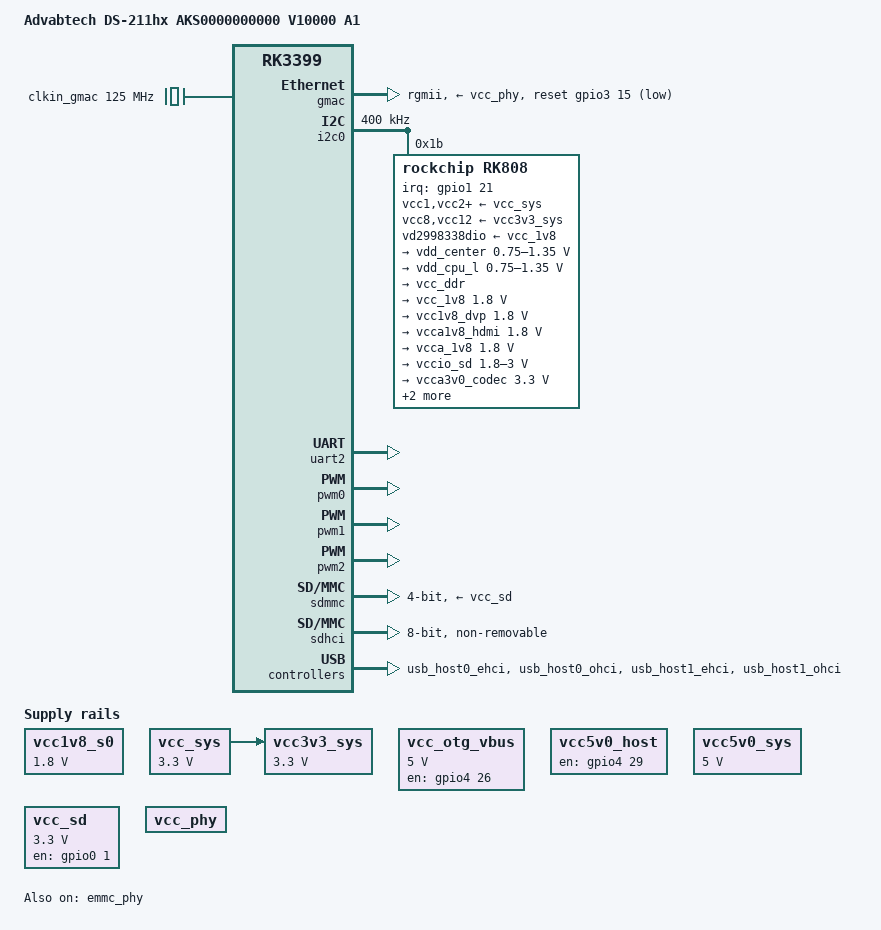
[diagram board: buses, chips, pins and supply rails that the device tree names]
/*
 * (C) Copyright 2016 Rockchip Electronics Co., Ltd
 *
 * SPDX-License-Identifier:     GPL-2.0+
 */

/dts-v1/;
#include <dt-bindings/pwm/pwm.h>
#include <dt-bindings/pinctrl/rockchip.h>
#include "rk3399.dtsi"
#include "rk3399-sdram-lpddr3-4GB-1600.dtsi"
#include "rk3399-u-boot.dtsi"
#include <linux/media-bus-format.h>
#include <dt-bindings/input/input.h>

/ {
	model = "Advabtech DS-211hx AKS0000000000 V10000 A1";
	compatible = "rockchip,rk3399-ds211hx", "rockchip,rk3399";
	
	chosen {
                stdout-path = &uart2;
                u-boot,spl-boot-order = &sdhci, &sdmmc;
        };
	vcc1v8_s0: vcc1v8-s0 {
                compatible = "regulator-fixed";
                regulator-name = "vcc1v8_s0";
                regulator-min-microvolt = <1800000>;
                regulator-max-microvolt = <1800000>;
                regulator-always-on;
        };
	vcc_sys: vcc-sys {
		compatible = "regulator-fixed";
                regulator-name = "vcc_sys";
                regulator-min-microvolt = <3300000>;
                regulator-max-microvolt = <3300000>;
                regulator-always-on;
	};
	vcc3v3_sys: vcc3v3-sys {
                compatible = "regulator-fixed";
                regulator-name = "vcc3v3_sys";
                regulator-min-microvolt = <3300000>;
                regulator-max-microvolt = <3300000>;
                regulator-always-on;
                vin-supply = <&vcc_sys>;
        };

	vcc_otg_vbus: otg-vbus-regulator {
		compatible = "regulator-fixed";
		gpio = <&gpio4 26 GPIO_ACTIVE_HIGH>;
		pinctrl-names = "default";
		pinctrl-0 = <&otg_vbus_drv>;
		regulator-name = "vcc_otg_vbus";
		regulator-min-microvolt = <5000000>;
		regulator-max-microvolt = <5000000>;
		enable-active-high;
	};

	vcc5v0_host: vcc5v0-host-regulator {
		compatible = "regulator-fixed";
		enable-active-high;
		gpio = <&gpio4 29 GPIO_ACTIVE_HIGH>;
		pinctrl-names = "default";
		pinctrl-0 = <&host_vbus_drv>;
		regulator-name = "vcc5v0_host";
		regulator-always-on;
	};

	vcc5v0_sys: vcc5v0-sys {
		compatible = "regulator-fixed";
		regulator-name = "vcc5v0_sys";
		regulator-always-on;
		regulator-boot-on;
		regulator-min-microvolt = <5000000>;
		regulator-max-microvolt = <5000000>;
	};

	vcc_sd: vcc-sd {
		compatible = "regulator-fixed";
		enable-active-high;
		gpio = <&gpio0 1 GPIO_ACTIVE_HIGH>;
		pinctrl-names = "default";
		pinctrl-0 = <&vcc_sd_h>;
		regulator-name = "vcc_sd";
		regulator-min-microvolt = <3300000>;
		regulator-max-microvolt = <3300000>;
		regulator-boot-on;
	};

	vcc_phy: vcc-phy-regulator {
		compatible = "regulator-fixed";
		regulator-name = "vcc_phy";
		regulator-always-on;
		regulator-boot-on;
	};
        
	clkin_gmac: external-gmac-clock {
                compatible = "fixed-clock";
                clock-frequency = <125000000>;
                clock-output-names = "clkin_gmac";
                #clock-cells = <0>;
        };


};

&edp_in_vopb {
	status = "disabled";
};
&vopb {
	status = "disabled";
};
&edp_in_vopl {
	status = "disabled";
};
&edp {
	status = "disabled";
	force-hpd;
};
&route_edp{
	status = "disabled";
};

&gmac {
	phy-supply = <&vcc_phy>;
	phy-mode = "rgmii";
	clock_in_out = "input";
	snps,reset-gpio = <&gpio3 15 GPIO_ACTIVE_LOW>;
	snps,reset-active-low;
	snps,reset-delays-us = <0 10000 50000>;
	assigned-clocks = <&cru SCLK_RMII_SRC>;
	assigned-clock-parents = <&clkin_gmac>;
	pinctrl-names = "default", "sleep";
	//pinctrl-0 = <&rgmii_16ma_pins &rgmii_phy_reset>;
	pinctrl-0 = <&rgmii_pins>;	
	//pinctrl-1 = <&rgmii_sleep_pins>;
	enable_phy_delay = <0>;
	tx_delay = <0x29>;
	rx_delay = <0x08>;
	status = "okay";
};

&i2c0 {
	status = "okay";
	i2c-scl-rising-time-ns = <178>;
	i2c-scl-falling-time-ns = <29>;
	clock-frequency = <400000>;

	rk808: pmic@1b {
		compatible = "rockchip,rk808";
		reg = <0x1b>;
		interrupt-parent = <&gpio1>;
		interrupts = <21 IRQ_TYPE_LEVEL_LOW>;
		pinctrl-names = "default";
		pinctrl-0 = <&pmic_int_l>;
		rockchip,system-power-controller;
		wakeup-source;
		#clock-cells = <1>;
		clock-output-names = "xin32k", "rk808-clkout2";
		//bulk-ilmax = <0xc0 0x80>;
		
		vcc1-supply = <&vcc_sys>;
                vcc2-supply = <&vcc_sys>;
                vcc3-supply = <&vcc_sys>;
                vcc4-supply = <&vcc_sys>;
                vcc6-supply = <&vcc_sys>;
                vcc7-supply = <&vcc_sys>;
                vcc8-supply = <&vcc3v3_sys>;
                vcc9-supply = <&vcc_sys>;
                vcc10-supply = <&vcc_sys>;
                vcc11-supply = <&vcc_sys>;
                vcc12-supply = <&vcc3v3_sys>;
                vd2998338dio-supply = <&vcc_1v8>;

		regulators {
			vdd_center: DCDC_REG1 {
				regulator-always-on;
				regulator-boot-on;
				regulator-min-microvolt = <750000>;
				regulator-max-microvolt = <1350000>;
				regulator-ramp-delay = <6001>;
				regulator-name = "vdd_center";
				regulator-state-mem {
					regulator-off-in-suspend;
				};
			};

			vdd_cpu_l: DCDC_REG2 {
				regulator-always-on;
				regulator-boot-on;
				regulator-min-microvolt = <750000>;
				regulator-max-microvolt = <1350000>;
				regulator-ramp-delay = <6001>;
				regulator-name = "vdd_cpu_l";
				regulator-state-mem {
					regulator-off-in-suspend;
				};
			};

			vcc_ddr: DCDC_REG3 {
				regulator-always-on;
				regulator-boot-on;
				regulator-name = "vcc_ddr";
				regulator-state-mem {
					regulator-on-in-suspend;
				};
			};

			vcc_1v8: DCDC_REG4 {
				regulator-always-on;
				regulator-boot-on;
				regulator-min-microvolt = <1800000>;
				regulator-max-microvolt = <1800000>;
				regulator-name = "vcc_1v8";
				regulator-state-mem {
					regulator-on-in-suspend;
					regulator-suspend-microvolt = <1800000>;
				};
			};

			vcc1v8_dvp: LDO_REG1 {
				regulator-always-on;
				regulator-boot-on;
				regulator-min-microvolt = <1800000>;
				regulator-max-microvolt = <1800000>;
				regulator-name = "vcc1v8_dvp";
				regulator-state-mem {
					regulator-on-in-suspend;
					regulator-suspend-microvolt = <1800000>;
				};
			};
		
			vcca1v8_hdmi: LDO_REG2 {
				regulator-always-on;
				regulator-boot-on;
				regulator-min-microvolt = <1800000>;
				regulator-max-microvolt = <1800000>;
				regulator-name = "vcca1v8_hdmi";
				regulator-state-mem {
					regulator-on-in-suspend;
					regulator-suspend-microvolt = <1800000>;
				};
			};

			vcca_1v8: LDO_REG3 {
				regulator-always-on;
				regulator-boot-on;
				regulator-min-microvolt = <1800000>;
				regulator-max-microvolt = <1800000>;
				regulator-name = "vcca_1v8";
				regulator-state-mem {
					regulator-on-in-suspend;
					regulator-suspend-microvolt = <1800000>;
				};
			};

			vccio_sd: LDO_REG4 {
				regulator-always-on;
				regulator-boot-on;
				regulator-min-microvolt = <1800000>;
				regulator-max-microvolt = <3000000>;
				regulator-name = "vccio_sd";
				regulator-state-mem {
					regulator-on-in-suspend;
					regulator-suspend-microvolt = <3000000>;
				};
			};

			vcca3v0_codec: LDO_REG5 {
				regulator-always-on;
				regulator-boot-on;
				regulator-min-microvolt = <3300000>;
				regulator-max-microvolt = <3300000>;
				regulator-name = "vcca3v0_codec";
				regulator-state-mem {
					regulator-on-in-suspend;
					regulator-suspend-microvolt = <3300000>;
				};
			};

			vcc_1v5: LDO_REG6 {
				regulator-always-on;
				regulator-boot-on;
				regulator-min-microvolt = <1500000>;
				regulator-max-microvolt = <1500000>;
				regulator-name = "vcc_1v5";
				regulator-state-mem {
					regulator-on-in-suspend;
					regulator-suspend-microvolt = <1500000>;
				};
			};
			
			vcca0v9_hdmi: LDO_REG7 {
				regulator-always-on;
				regulator-boot-on;
				regulator-min-microvolt = <900000>;
				regulator-max-microvolt = <900000>;
				regulator-name = "vcca0v9_hdmi";
				regulator-state-mem {
					regulator-on-in-suspend;
					regulator-suspend-microvolt = <900000>;
				};
			};

			vcc_3v0: LDO_REG8 {
				regulator-always-on;
				regulator-boot-on;
				regulator-min-microvolt = <3000000>;
				regulator-max-microvolt = <3000000>;
				regulator-name = "vcc_3v0";
				regulator-state-mem {
					regulator-on-in-suspend;
					regulator-suspend-microvolt = <3000000>;
				};
			};

			vcc3v3_s3: SWITCH_REG1 {
				regulator-always-on;
				regulator-boot-on;
				regulator-name = "vcc3v3_s3";
				regulator-state-mem {
					regulator-off-in-suspend;
				};
			};

			vcc3v3_s0: SWITCH_REG2 {
				regulator-always-on;
				regulator-boot-on;
				regulator-name = "vcc3v3_s0";
				regulator-state-mem {
					regulator-off-in-suspend;
				};
			};
		};
	};
};

&uart2 {
	status = "okay";
};

&emmc_phy {
	status = "okay";
};

&pwm0 {
	status = "okay";
};

&pwm1 {
	status = "okay";
};

&pwm2 {
	status = "okay";
};
&saradc {
	status = "disabled";
};
&sdmmc {
	clock-frequency = <10000000>;
	clock-freq-min-max = <100000 100000000>;
	supports-sd;
	bus-width = <4>;
	cap-mmc-highspeed;
	cap-sd-highspeed;
	disable-wp;
	num-slots = <1>;
	//sd-uhs-sdr104;
	vmmc-supply = <&vcc_sd>;
	//vqmmc-supply = <&vccio_sd>;
	pinctrl-names = "default";
	pinctrl-0 = <&sdmmc_clk &sdmmc_cmd &sdmmc_cd &sdmmc_bus4>;
	status = "okay";
};

&sdhci {
	bus-width = <8>;
	mmc-hs400-1_8v;
	supports-emmc;
	non-removable;
	keep-power-in-suspend;
	mmc-hs400-enhanced-strobe;
	status = "okay";
};
&usb_host0_ehci {
	status = "okay";
};

&usb_host0_ohci {
	status = "okay";
};

&usb_host1_ehci {
	status = "okay";
};

&usb_host1_ohci {
	status = "okay";
};
&dwc3_typec0 {
	//vbus-supply = <&vcc5v0_typec0>;
	status = "disabled";
};

&dwc3_typec1 {
	//vbus-supply = <&vcc5v0_typec1>;
	status = "disabled";
};

&pinctrl {
	pcfg_pull_none_16ma: pcfg-pull-none-16ma {
		bias-disable;
		drive-strength = <16>;
	};

	pcfg_pull_none_26ma: pcfg-pull-none-26ma {
		bias-disable;
		drive-strength = <26>;
	};

	pmic {
		pmic_int_l: pmic-int-l {
			rockchip,pins =
				<1 21 RK_FUNC_GPIO &pcfg_pull_up>;
		};
		pmic_pwr_key: pmic-pwr-key {
			rockchip,pins =
				<0 5 RK_FUNC_GPIO &pcfg_pull_up>;
		};
		vsel1_gpio: vsel1-gpio {
			rockchip,pins =
				<1 17 RK_FUNC_GPIO &pcfg_pull_down>;
		};
		vsel2_gpio: vsel2-gpio {
			rockchip,pins =
				<1 14 RK_FUNC_GPIO &pcfg_pull_down>;
		};
		clk32k_in: clk32k-in {
			rockchip,pins =
				<0 0 RK_FUNC_2 &pcfg_pull_down>;
		};
	};

	usb {
		otg_vbus_drv: otg-vbus-drv {
			rockchip,pins = 
				<4 26 RK_FUNC_GPIO &pcfg_pull_none>;
		};
		host_vbus_drv: host-vbus-drv {
			rockchip,pins =
				<4 29 RK_FUNC_GPIO &pcfg_pull_none>;
		};
	};

	vcc_sd {
		vcc_sd_h: vcc-sd-h {
			rockchip,pins =
				<0 1 RK_FUNC_GPIO &pcfg_pull_up>;
		};
	};

	gmac {
		rgmii_phy_reset: rgmii-phy-reset {
			rockchip,pins = <3 16 RK_FUNC_GPIO &pcfg_pull_down>;
		};
	};
};



/* DON'T PUT ANYTHING BELOW HERE.  PUT IT ABOVE PINCTRL */
/* DON'T PUT ANYTHING BELOW HERE.  PUT IT ABOVE PINCTRL */
/* DON'T PUT ANYTHING BELOW HERE.  PUT IT ABOVE PINCTRL */
